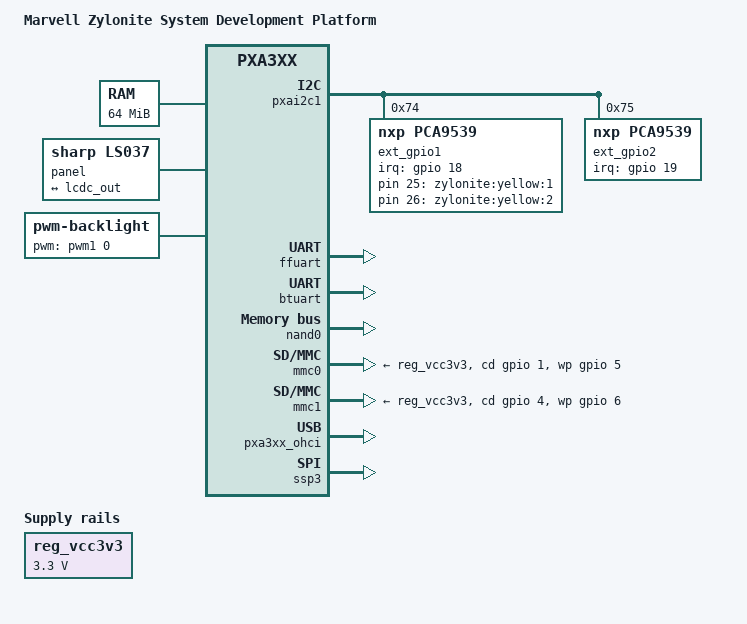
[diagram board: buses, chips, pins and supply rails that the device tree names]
/*
 *  Copyright (C) Robert Jarzmik <robert.jarzmik@free.fr>
 *
 *  This program is free software; you can redistribute it and/or modify
 *  it under the terms of the GNU General Public License version 2 as
 *  publishhed by the Free Software Foundation.
 */

/dts-v1/;
#include "pxa3xx.dtsi"
#include "include/dt-bindings/gpio/gpio.h"
#include "include/dt-bindings/clock/pxa-clock.h"
#include "dt-bindings/interrupt-controller/irq.h"

/ {
	model = "Marvell Zylonite System Development Platform";
	compatible = "marvell,pxa310", "marvell,pxa3xx";

	chosen {
		bootargs = "console=ttyS0,115200 earlyprintk root=/dev/ram0 ip=dhcp";
	};

	memory {
		device_type = "memory";
		reg = <0xa0000000 0x04000000>;

		reserved-memory {
			#address-cells = <1>;
			#size-cells = <1>;

			pstore_region:region@0xa2000000 {
				compatible = "linux,contiguous-memory-region";
				reg = <0xa2000000 1048576>;
			};
		};
	};

	reg_vcc3v3: vcc3v3 {
		compatible = "regulator-fixed";
		regulator-name = "vcc3v3";
		regulator-min-microvolt = <3300000>;
		regulator-max-microvolt = <3300000>;
	};

	pxabus {
		pxai2c1: i2c@40301680 {
			mrvl,i2c-fast-mode;

			pinctrl-names = "default";
			pinctrl-0 = <&pmux_i2c_default>;

			status = "okay";

			ext_gpio1: gpio@74 {
				compatible = "nxp,pca9539";
				reg = <0x74>;
				interrupts-extended = <&gpio 18 IRQ_TYPE_EDGE_BOTH>;
				pinctrl-names = "default";
				pinctrl-0 = < &pmux_pca9539_1_default >;
				status = "okay";
			};
			ext_gpio2: gpio@75 {
				compatible = "nxp,pca9539";
				reg = <0x75>;
				interrupts-extended = <&gpio 19 IRQ_TYPE_EDGE_BOTH>;
				pinctrl-names = "default";
				pinctrl-0 = < &pmux_pca9539_2_default >;
				status = "okay";
			};
		};

		gpio: gpio@40e00000 {
			status = "okay";
		};

		ffuart: uart@40100000 {
			pinctrl-names = "default";
			pinctrl-0 = < &pmux_ffuart_default
				      &pmux_ffuart_wak1_default >;
			status = "okay";
		};

		btuart: uart@40200000 {
			pinctrl-names = "default";
			pinctrl-0 = < &pmux_btuart_default
				      &pmux_btuart_wak1_default
				      &pmux_btuart_wak2_default >;
			status = "okay";
		};

		nand0: nand@43100000 {
			num-cs = <1>;
			marvell,nand-enable-arbiter;
			marvell,nand-keep-config;
			nand-on-flash-bbt;
			marvell,detect-delay-ms = <200>;
			status = "okay";

			partitions {
				compatible = "fixed-partitions";
				#address-cells = <1>;
				#size-cells = <1>;
		
				partition@0 {
					label = "TIMH";
					reg = <0x0000000 0x20000>;
					read-only;
				};
		
				obmi@20000 {
					reg = <0x0020000 0x20000>;
					read-only;
				};

				barebox@40000 {
					reg = <0x0040000 0xc0000>;
					read-only;
				};

				barebox-env@100000 {
					reg = <0x0100000 0x40000>;
					read-only;
				};

				kernel@140000 {
					reg = <0x0100000 0xc00000>;
					read-only;
				};

				root@d40000 {
					reg = <0x0d40000 0x2520000>;
					read-only;
				};
			};
		};

		mmc0: mmc@41100000 {
			vmmc-supply = <&reg_vcc3v3>;
			cd-gpios = <&gpio 1 GPIO_ACTIVE_HIGH>;
			wp-gpios = <&gpio 5 GPIO_ACTIVE_HIGH>;
			marvell,detect-delay-ms = <200>;
			pinctrl-names = "default";
			pinctrl-0 = < &pmux_mmc1_default &pmux_mmc1_wak_default >;
			status = "okay";
		};

		mmc1: mmc@42000000 {
			vmmc-supply = <&reg_vcc3v3>;
			cd-gpios = <&gpio 4 GPIO_ACTIVE_HIGH>;
			wp-gpios = <&gpio 6 GPIO_ACTIVE_HIGH>;
			marvell,detect-delay-ms = <200>;
			pinctrl-names = "default";
			pinctrl-0 = < &pmux_mmc2_default &pmux_mmc2_wak_default >;
			status = "okay";
		};

		lcd-controller@40500000 {
			status = "okay";
			pinctrl-names = "default";
			pinctrl-0 = <&pmux_lcd_ds01x_default  &pmux_lcd_ds02x_default>;
			port {
				lcdc_out: endpoint {
					remote-endpoint = <&panel_in>;
					bus-width = <16>;
				};
			};
		};

		lan: smc91c111@14000300 {
			compatible = "smsc,lan91c111";
			reg = <0x14000300 0xfffff>;
			interrupts-extended = <&gpio 102 IRQ_TYPE_EDGE_RISING>;
			reg-io-width = <2>;
			dmas = <&pdma 0xffffffff 3>;
			dma-names = "data";
			pinctrl-names = "default";
			pinctrl-0 = < &pmux_lan_default >;
		};

		keypad: keypad@41500000 {
			status = "okay";
			pinctrl-names = "default";
			pinctrl-0 = < &pmux_keypad_out_default
				      &pmux_keypad_wak_default >;

			keypad,num-rows = <8>;
			keypad,num-columns = <8>;
			linux,keymap = <
				0x00000041	/* A */
				0x00010042	/* B */
				0x00020043	/* C */
				0x00050044	/* D */

				0x01000045	/* E */
				0x01010046	/* F */
				0x01020047	/* G */
				0x01050048	/* H */

				0x02000049	/* I */
				0x0201004a	/* J */
				0x0202004b	/* K */
				0x0205004c	/* L */

				0x0300004d	/* M */
				0x0301004e	/* N */
				0x0302004f	/* O */
				0x03050050	/* P */

				0x05000051	/* Q */
				0x05010052	/* R */
				0x05020053	/* S */
				0x05050054	/* T */

				0x06000055	/* U */
				0x06010056	/* V */
				0x06020057	/* W */
				0x06050058	/* X */

				0x07010059	/* Y */
				0x0702005a	/* Z */

				0x04040030	/* 0 */
				0x01030031	/* 1 */
				0x04010032	/* 2 */
				0x01040033	/* 3 */
				0x02030034	/* 4 */
				0x04020035	/* 5 */
				0x02040036	/* 6 */
				0x03030037	/* 7 */
				0x04030038	/* 8 */
				0x03040039	/* 9 */

				0x04050020	/*   */
				0x0503002a	/* * */
				0x05040023	/* # */

				0x00070067	/* KEY_UP */
				0x0107006c	/* KEY_DOWN */
				0x02070069	/* KEY_LEFT */
				0x0307006a	/* KEY_RIGHT */
				0x02060066	/* KEY_HOME */
				0x0306006b	/* KEY_END */
				0x0604006f	/* KEY_DELETE */
				0x0606000e	/* KEY_BACK */
				0x0603003a	/* KEY_CAPSLOCK */

				0x0406001c	/* KEY_ENTER */
				0x0507001c	/* KEY_ENTER */

				0x000400d7	/* KEY_EMAIL */
				0x050600e7	/* KEY_SEND */
				0x0400018d	/* KEY_CALENDAR */
				0x070600a7	/* KEY_RECORD */
				0x06070073	/* KEY_VOLUMEUP */
				0x07070072	/* KEY_VOLUMEDOWN */

				0x000600c0	/* KEY_F22 */
				0x010600c1	/* KEY_F23 */
				0x00030186 >;	/* KEY_AUX */

			marvell,rotary0 = <0x006c0067>;	/* KEY_UP & KEY_DOWN */
			marvell,debounce-interval = <30>;
		};

		pxa3xx_ohci: usb@4c000000 {
			marvell,port-mode = <3>;
			marvell,enable-port1;
			marvell,enable-port2;
			marvell,power-control-low;
			marvell,port-sense-low;
			pinctrl-names = "default";
			pinctrl-0 = < &pmux_usbh_default >;
			status = "okay";
		};

		ssp3: ssp@41900000 {
			compatible = "mrvl,pxa3xx-ssp";
			reg = <0x41900000 0x40>;
			interrupts = <0>;
			clocks = < &clks CLK_SSP3 >;
			dmas = <&pdma 66 3
				&pdma 67 3>;
			dma-names = "rx", "tx";
			pinctrl-names = "default";
			pinctrl-0 = < &pmux_ssp3_low_default
				      &pmux_ssp3_float_default >;
			status = "okay";
		};

		ssp_dai0: ssp_dai@0 {
			compatible = "mrvl,pxa-ssp-dai";
			port = <&ssp3>;
			#sound-dai-cells = <0>;
		};
		ac97: sound@40500000 {
		      	compatible = "marvell,pxa2xx-ac97";
			reg = < 0x40500000 0x1000 >;
			interrupts = <14>;
			reset-gpio = <&gpio 113 GPIO_ACTIVE_HIGH>;
			#sound-dai-cells = <1>;
			pinctrl-names = "default";
			pinctrl-0 = < &pmux_ac97_default >;
			status = "okay";
		};

		pxa_pcm_audio: snd_soc_pxa_audio {
			compatible = "mrvl,pxa-pcm-audio";
			#sound-dai-cells = <1>;
		};
		pxa_ssp_dai: snd_soc_pxa_audio {
			compatible = "mrvl,pxa-pcm-audio";
			#sound-dai-cells = <1>;
		};

		wm9713: wm9713@0 {
			compatible = "wlf,wm9713";
			#sound-dai-cells = <1>;
			pinctrl-names = "default";
			pinctrl-0 = < &pmux_wm9713_default >;
			status = "okay";
		};
	};

	panel {
		compatible = "sharp,ls037";
		lcd-type = "color-tft";

		/*
		power-supply = <&lcd_supply>;
		backlight = <&lcd_backlight>;
		*/

		port {
			panel_in: endpoint {
				remote-endpoint = <&lcdc_out>;
			};
		};

		display-timings {
			native-mode = <&timing0>;
			timing0: 480p {
				/* 480x640p24 */
				clock-frequency = <39700>;
				hactive = <240>;
				vactive = <320>;
				hfront-porch = <81>;
				hback-porch = <81>;
				hsync-len = <8>;
				vback-porch = <2>;
				vfront-porch = <7>;
				vsync-len = <1>;
				vsync-active = <0>;
			};
		};
	};

	leds {
		compatible = "gpio-leds";

		yellow1-led {
			label = "zylonite:yellow:1";
			gpios = <&ext_gpio1 25 GPIO_ACTIVE_HIGH>;
			linux,default-trigger = "heartbeat";
		};

		yellow2-led {
			label = "zylonite:yellow:2";
			gpios = <&ext_gpio1 26 GPIO_ACTIVE_HIGH>;
			linux,default-trigger = "default-on";
		};
	};

	backlight {
		compatible = "pwm-backlight";
		pwms = <&pwm1 0 10000>;
		pwm-names = "backlight";

		brightness-levels = <0 4 8 16 32 64 128 255>;
		default-brightness-level = <2>;

		pinctrl-names = "default";
		pinctrl-0 = < &pmux_backlight_default >;
	};

	sound {
		compatible = "simple-audio-card";
		simple-audio-card,name = "Zylonite-Sound-Card";
		simple-audio-card,format = "ac97";
		simple-audio-card,widgets =
			"Headphone", "Headphone",
			"Microphone", "Headset Microphone",
			"Microphone", "Handset Microphone",
			"Speaker", "Multiactor",
			"Speaker", "Headset Earpiece";
		simple-audio-card,routing =
			"Headphone", "HPL",		/* Headphone output */
			"Headphone", "HPR",		/* connected to HPL/HPR */
			"Headset Earpiece", "OUT3",	/* On-board earpiece */
			"MIC2A", "Mic Bias",			/* Headphone mic */
			"Mic Bias", "Headset Microphone",	/* Headphone mic */
			"MIC1", "Mic Bias",			/* On-board mic */
			"Mic Bias", "Handset Microphone",	/* On-board mic */
			"Multiactor", "SPKL",		/* Multiactor differentially */
			"Multiactor", "SPKR";		/* connected over SPKL/SPKR */
	
		simple-audio-card,dai-link@0 {		/* AC97 */
			format = "ac97";
			cpu {
				sound-dai = <&ac97 0>;
			};
			codec {
				sound-dai = <&wm9713 0>;
			};
			plat {
				sound-dai = <&pxa_pcm_audio 0>;
			};
		};
		simple-audio-card,dai-link@1 {		/* AC97 Aux */
			format = "ac97";
			cpu {
				sound-dai = <&ac97 1>;
			};
			codec {
				sound-dai = <&wm9713 1>;
			};
			plat {
				sound-dai = <&pxa_pcm_audio 0>;
			};
		};
		simple-audio-card,dai-link@2 {		/* AC97 Voice */
			format = "i2s";
			cpu {
				sound-dai = <&ssp_dai0>;
			};
			codec {
				sound-dai = <&wm9713 2>;
			};
			plat {
				sound-dai = <&pxa_pcm_audio 0>;
			};
		};
	};
};

&pinctrl {
	status = "okay";

	pmux_i2c_default: i2c-default {
		pinctrl-single,pins = <
			MFP_PIN_PXA310(21) MFP_AF1
			MFP_PIN_PXA310(22) MFP_AF1 >;
		pinctrl-single,low-power-mode = MFP_LPM(MFP_LPM_PULL_HIGH);
		pinctrl-single,drive-strength = MFP_DS03X;
	};

	pmux_pca9539_1_default: pca9539-1-default {
		pinctrl-single,pins = <	MFP_PIN_PXA310(18) MFP_AF0 >;
		pinctrl-single,low-power-mode = MFP_LPM(MFP_LPM_PULL_HIGH);
		pinctrl-single,drive-strength = MFP_DS03X;
	};

	pmux_pca9539_2_default: pca9539-2-default {
		pinctrl-single,pins = <	MFP_PIN_PXA310(19) MFP_AF0 >;
		pinctrl-single,low-power-mode = MFP_LPM(MFP_LPM_PULL_HIGH);
		pinctrl-single,drive-strength = MFP_DS03X;
	};

	pmux_lcd_ds01x_default: lcd-ds01x-default {
		pinctrl-single,pins = <
			MFP_PIN_PXA310(54) MFP_AF1	/* LDD_0 */
			MFP_PIN_PXA310(55) MFP_AF1	/* LDD_1 */
			MFP_PIN_PXA310(56) MFP_AF1	/* LDD_2 */
			MFP_PIN_PXA310(57) MFP_AF1	/* LDD_3 */
			MFP_PIN_PXA310(58) MFP_AF1	/* LDD_4 */
			MFP_PIN_PXA310(59) MFP_AF1	/* LDD_5 */
			MFP_PIN_PXA310(60) MFP_AF1	/* LDD_6 */
			MFP_PIN_PXA310(61) MFP_AF1	/* LDD_7 */
			MFP_PIN_PXA310(62) MFP_AF1	/* LDD_8 */
			MFP_PIN_PXA310(63) MFP_AF1	/* LDD_9 */
			MFP_PIN_PXA310(64) MFP_AF1	/* LDD_10 */
			MFP_PIN_PXA310(65) MFP_AF1	/* LDD_11 */
			MFP_PIN_PXA310(66) MFP_AF1	/* LDD_12 */
			MFP_PIN_PXA310(67) MFP_AF1	/* LDD_13 */
			MFP_PIN_PXA310(68) MFP_AF1	/* LDD_14 */
			MFP_PIN_PXA310(69) MFP_AF1	/* LDD_15 */
			MFP_PIN_PXA310(72) MFP_AF1	/* FCLK */
			MFP_PIN_PXA310(73) MFP_AF1	/* LCLK */
			MFP_PIN_PXA310(75) MFP_AF1	/* BIAS */
			MFP_PIN_PXA310(76) MFP_AF2	/* VSYNC */
			MFP_PIN_PXA310(127) MFP_AF1	/* CS_N */
		>;
		pinctrl-single,drive-strength = MFP_DS01X;
	};

	pmux_lcd_ds02x_default: lcd-ds02x-default {
		pinctrl-single,pins = <
			MFP_PIN_PXA310(74) MFP_AF1	/* LDD_0 */
		>;
		pinctrl-single,drive-strength = MFP_DS02X;
	};

	pmux_backlight_default: backlight-default  {
		pinctrl-single,pins = <
			MFP_PIN_PXA310(20) MFP_AF1	/* PWM3_OUT */
		>;
		pinctrl-single,drive-strength = MFP_DS03X;
	};

	pmux_btuart_default: btuart-default {
		pinctrl-single,pins = <
			MFP_PIN_PXA310(111) MFP_AF1	/* UART2_RTS */
			MFP_PIN_PXA310(113) MFP_AF1	/* UART2_TXD */
		>;
		pinctrl-single,low-power-mode = MFP_LPM(MFP_LPM_FLOAT);
	};
	pmux_btuart_wak1_default: btuart-wake-fall-default {
		pinctrl-single,pins = <
			MFP_PIN_PXA310(112) MFP_AF1	/* UART2_RXD */
		>;
		pinctrl-single,low-power-mode = MFP_LPM(MFP_LPM_FLOAT | MFP_LPM_EDGE_FALL);
	};
	pmux_btuart_wak2_default: btuart-wake-both-default {
		pinctrl-single,pins = <
			MFP_PIN_PXA310(114) MFP_AF1	/* UART2_CTS */
		>;
		pinctrl-single,low-power-mode = MFP_LPM(MFP_LPM_FLOAT | MFP_LPM_EDGE_BOTH);
	};

	pmux_ffuart_default: ffuart-default {
		pinctrl-single,pins = <
			MFP_PIN_PXA310(99) MFP_AF1	/* UART1_RXD */
			MFP_PIN_PXA310(100) MFP_AF1	/* UART1_TXD */
			MFP_PIN_PXA310(101) MFP_AF1	/* UART1_CTS */
			MFP_PIN_PXA310(106) MFP_AF1	/* UART1_RTS */
		>;
		pinctrl-single,low-power-mode = MFP_LPM(MFP_LPM_FLOAT);
		pinctrl-single,drive-strength = MFP_DS03X;
	};
	pmux_ffuart_wak1_default: ffuart-wake-both-default {
		pinctrl-single,pins = <
			MFP_PIN_PXA310(99) MFP_AF1	/* UART1_RXD */
		>;
		pinctrl-single,low-power-mode = MFP_LPM(MFP_LPM_EDGE_BOTH);
	};

	pmux_lan_default: lan-default {
		pinctrl-single,pins = <
			MFP_PIN_PXA310(2) MFP_AF1	/* nCS3 */
			MFP_PIN_PXA310(102) MFP_AF0	/* GPIO 102 */
		>;
		pinctrl-single,drive-strength = MFP_DS03X;
	};

	pmux_mmc1_default: mmc1-default {
		pinctrl-single,pins = <
			MFP_PIN_PXA310(3) MFP_AF4	/* MMC1_DAT0 */
			MFP_PIN_PXA310(5) MFP_AF4	/* MMC1_DAT2 */
			MFP_PIN_PXA310(6) MFP_AF4	/* MMC1_DAT3 */
			MFP_PIN_PXA310(7) MFP_AF4	/* MMC1_CLK */
			MFP_PIN_PXA310(8) MFP_AF4	/* MMC1_CMD */
			MFP_PIN_PXA310(15) MFP_AF0	/* CMD1 default as GPIO for slot 0 */
		>;
		pinctrl-single,drive-strength = MFP_DS03X;
		pinctrl-single,low-power-mode = MFP_LPM(MFP_LPM_DRIVE_HIGH);
	};
	pmux_mmc1_wak_default: mmc1-wake-both-default {
		pinctrl-single,pins = <
			MFP_PIN_PXA310(4) MFP_AF4	/* MMC1_DAT1 */
		>;
		pinctrl-single,drive-strength = MFP_DS03X;
		pinctrl-single,low-power-mode = MFP_LPM(MFP_LPM_EDGE_BOTH);
	};

	pmux_mmc2_default: mmc2-default {
		pinctrl-single,pins = <
			MFP_PIN_PXA310(9) MFP_AF4	/* MMC2_DAT0 */
			MFP_PIN_PXA310(11) MFP_AF4	/* MMC2_DAT2 */
			MFP_PIN_PXA310(12) MFP_AF4	/* MMC2_DAT3 */
			MFP_PIN_PXA310(13) MFP_AF4	/* MMC2_CLK */
			MFP_PIN_PXA310(14) MFP_AF4	/* MMC2_CMD */
		>;
		pinctrl-single,drive-strength = MFP_DS03X;
		pinctrl-single,low-power-mode = MFP_LPM(MFP_LPM_PULL_HIGH);
	};
	pmux_mmc2_wak_default: mmc2-wake-both-default {
		pinctrl-single,pins = <
			MFP_PIN_PXA310(10) MFP_AF4	/* MMC2_DAT1 */
		>;
		pinctrl-single,drive-strength = MFP_DS03X;
		pinctrl-single,low-power-mode = MFP_LPM(MFP_LPM_EDGE_BOTH | MFP_LPM_PULL_HIGH);
	};

	pmux_mmc3_default: mmc3-default {
		pinctrl-single,pins = <
			MFP_PIN_PXA310(256 + 7) MFP_AF1		/* MMC3_DAT0 */
			MFP_PIN_PXA310(256 + 9) MFP_AF1		/* MMC3_DAT2 */
			MFP_PIN_PXA310(256 + 10) MFP_AF1	/* MMC3_DAT3 */
			MFP_PIN_PXA310(103) MFP_AF2		/* MMC3_CLK */
			MFP_PIN_PXA310(105) MFP_AF2		/* MMC3_CMD */
		>;
		pinctrl-single,drive-strength = MFP_DS03X;
	};
	pmux_mmc3_wak_default: mmc3-wake-both-default {
		pinctrl-single,pins = <
			MFP_PIN_PXA310(256 + 8) MFP_AF1	/* MMC3_DAT1 */
		>;
		pinctrl-single,drive-strength = MFP_DS03X;
		pinctrl-single,low-power-mode = MFP_LPM(MFP_LPM_EDGE_BOTH);
	};

	pmux_usbh_default: usbh-default {
		pinctrl-single,pins = <
			MFP_PIN_PXA310(256 + 0) MFP_AF1	/* USBH_PEN */
			MFP_PIN_PXA310(256 + 1) MFP_AF1	/* USBH_PWR */
		>;
		pinctrl-single,drive-strength = MFP_DS03X;
	};

	pmux_keypad_out_default: keypad-out-default {
		pinctrl-single,pins = <
			MFP_PIN_PXA310(121) MFP_AF1	/* MKOUT_0 */
			MFP_PIN_PXA310(122) MFP_AF1	/* MKOUT_1 */
			MFP_PIN_PXA310(123) MFP_AF1	/* MKOUT_2 */
			MFP_PIN_PXA310(124) MFP_AF1	/* MKOUT_3 */
			MFP_PIN_PXA310(125) MFP_AF1	/* MKOUT_4 */
			MFP_PIN_PXA310(256 + 5) MFP_AF1	/* MKOUT_5 */
			MFP_PIN_PXA310(256 + 6) MFP_AF1	/* MKOUT_6 */
			MFP_PIN_PXA310(256 + 7) MFP_AF1	/* MKOUT_7 */
		>;
		pinctrl-single,drive-strength = MFP_DS03X;
	};
	pmux_keypad_wak_default: keypad-wake-both-default {
		pinctrl-single,pins = <
			MFP_PIN_PXA310(107) MFP_AF2	/* KP_DKIN_0 */
			MFP_PIN_PXA310(108) MFP_AF2	/* KP_DKIN_0 */
			MFP_PIN_PXA310(115) MFP_AF1	/* KP_MKIN_0 */
			MFP_PIN_PXA310(116) MFP_AF1	/* KP_MKIN_1 */
			MFP_PIN_PXA310(117) MFP_AF1	/* KP_MKIN_2 */
			MFP_PIN_PXA310(118) MFP_AF1	/* KP_MKIN_3 */
			MFP_PIN_PXA310(119) MFP_AF1	/* KP_MKIN_4 */
			MFP_PIN_PXA310(120) MFP_AF1	/* KP_MKIN_5 */
			MFP_PIN_PXA310(256 + 2) MFP_AF1	/* KP_MKIN_6 */
			MFP_PIN_PXA310(256 + 3) MFP_AF1	/* KP_MKIN_7 */
			>;
		pinctrl-single,low-power-mode = MFP_LPM(MFP_LPM_FLOAT | MFP_LPM_EDGE_BOTH);
	};

	pmux_ac97_default: ac97-default {
		pinctrl-single,pins = <
			MFP_PIN_PXA310(23) MFP_AF1	/* AC97_nACRESET */
			MFP_PIN_PXA310(24) MFP_AF1	/* AC97_SYSCLK */
			MFP_PIN_PXA310(29) MFP_AF1	/* AC97_BITCLK */
			MFP_PIN_PXA310(25) MFP_AF1	/* AC97_SDATA_IN_0 */
			MFP_PIN_PXA310(27) MFP_AF1	/* AC97_SDATA_OUT */
			MFP_PIN_PXA310(28) MFP_AF1	/* AC97_SYNC */
			MFP_PIN_PXA310(17) MFP_AF0	/* GPIO unused */
		>;
		pinctrl-single,drive-strength = MFP_DS03X;
	};
	pmux_wm9713_default: wm9713-default {
		pinctrl-single,pins = <
			MFP_PIN_PXA310(26) MFP_AF0	/* WM9713 IRQ */
		>;
	};

	pmux_ssp3_low_default: ssp3-low-default {
		pinctrl-single,pins = <
			MFP_PIN_PXA310(92) MFP_AF1	/* SSP3_FRM */
			MFP_PIN_PXA310(93) MFP_AF1	/* SSP3_TXD */
		>;
		pinctrl-single,drive-strength = MFP_DS08X;
		pinctrl-single,low-power-mode = MFP_LPM(MFP_LPM_DRIVE_LOW);
	};
	pmux_ssp3_float_default: ssp3-float-default {
		pinctrl-single,pins = <
			MFP_PIN_PXA310(91) MFP_AF1	/* SSP3_SCLK */
			MFP_PIN_PXA310(94) MFP_AF1	/* SSP3_RXD */
		>;
		pinctrl-single,drive-strength = MFP_DS08X;
		pinctrl-single,low-power-mode = MFP_LPM(MFP_LPM_FLOAT);
	};
};
